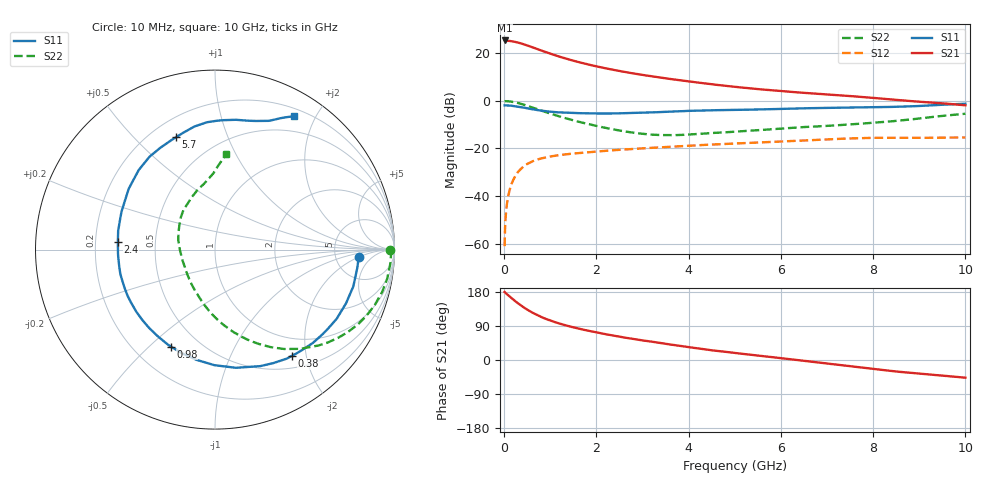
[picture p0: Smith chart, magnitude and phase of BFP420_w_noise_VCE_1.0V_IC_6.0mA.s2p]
! Infineon Technologies  Discrete & RF Semiconductors
! BFP420
! VCE =  1.0 V,  IC =  6.0 mA
! Common Emitter S-Parameters:  Jan 2016
# GHz  S  MA  R  50
!  f  S11  S21  S12  S22
! GHz  MAG  ANG  MAG  ANG  MAG  ANG  MAG  ANG
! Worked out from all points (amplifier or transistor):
!   233 points, 10 MHz to 10 GHz, reference 50 ohm
!   highest |S21| = 25.3 dB at 10 MHz (marker M1)
!   |S21| within 3 dB of that: start of sweep to 633.5 MHz
!   unconditionally stable (mu >= 1): 2.765 GHz to end of sweep
!   at 200 MHz: K = 0.09, MSG = 28.9 dB, |S12| = -33.0 dB
!   at 1.74 GHz: K = 0.69, MSG = 18.6 dB, |S12| = -21.7 dB
!   at 10 GHz: K = 1.10, MAG = 4.8 dB, |S12| = -15.4 dB
!   lowest NFmin = 0.70 dB at 900 MHz
!   S11 on the Smith chart (normalised r, x): 10 MHz: 8.67, -1.98; 380 MHz: 0.69, -1.75; 980 MHz: 0.35, -0.59; 2.4 GHz: 0.30, +0.03; 5.7 GHz: 0.30, +0.67; 10 GHz: 0.29, +1.72
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0.01  0.8026 -2.9  18.31 179.4  0.0009 119.5  0.9763 0.0
0.02  0.8018 -3.2  17.95 178.2  0.0022 89.4  0.9812 -1.8
0.06  0.7978 -8.8  17.98 173.7  0.0069 85.7  0.9778 -5.7
0.1  0.7975 -14.9  17.98 169.5  0.0115 82.3  0.973 -9.6
0.2  0.7799 -29.6  17.41 159.3  0.0223 75.0  0.943 -18.9
0.3  0.7536 -43.6  16.55 149.6  0.0321 68.2  0.8983 -27.7
0.38  0.7307 -54.1  15.72 142.6  0.0388 63.2  0.8547 -34.0
0.5  0.6964 -68.8  14.41 132.9  0.0474 56.7  0.7863 -42.8
0.6  0.6687 -80.0  13.33 125.7  0.0532 52.1  0.7294 -49.3
0.8  0.6228 -99.5  11.33 113.7  0.0618 45.1  0.6255 -60.3
0.98  0.5933 -114.5  9.85 105.1  0.0674 40.4  0.5469 -68.6
1.12  0.5768 -124.4  8.877 99.2  0.0709 37.7  0.4957 -74.4
1.3  0.5637 -136.0  7.834 92.5  0.0748 34.8  0.4394 -81.2
1.68  0.5478 -155.9  6.218 81.0  0.0815 30.6  0.3506 -94.2
2.4  0.5428 175.7  4.378 63.7  0.0924 25.2  0.2478 -118.2
3.4  0.5809 147.3  3.044 44.6  0.106 19.4  0.1911 -157.3
4  0.6142 133.8  2.541 33.7  0.1145 15.9  0.196 -179.9
5.1  0.6456 117.0  1.912 17.2  0.1282 9.4  0.2277 152.8
5.7  0.6628 109.1  1.688 9.0  0.1357 5.9  0.249 141.8
6.8  0.704 95.9  1.395 -6.3  0.1518 -1.5  0.2903 124.1
8.4  0.7428 75.1  1.063 -29.0  0.1672 -16.5  0.3708 99.7
10  0.8646 59.3  0.802 -46.7  0.1704 -26.6  0.5344 83.3
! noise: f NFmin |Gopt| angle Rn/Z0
0.9  0.7  0.16  29  0.14
1.8  1.08  0.06  113  0.12
2.4  1.17  0.11  132  0.13
3  1.26  0.17  176  0.11
4  1.43  0.31  -139  0.13
5  1.82  0.38  -115  0.24
6  2.3  0.43  -99  0.37
